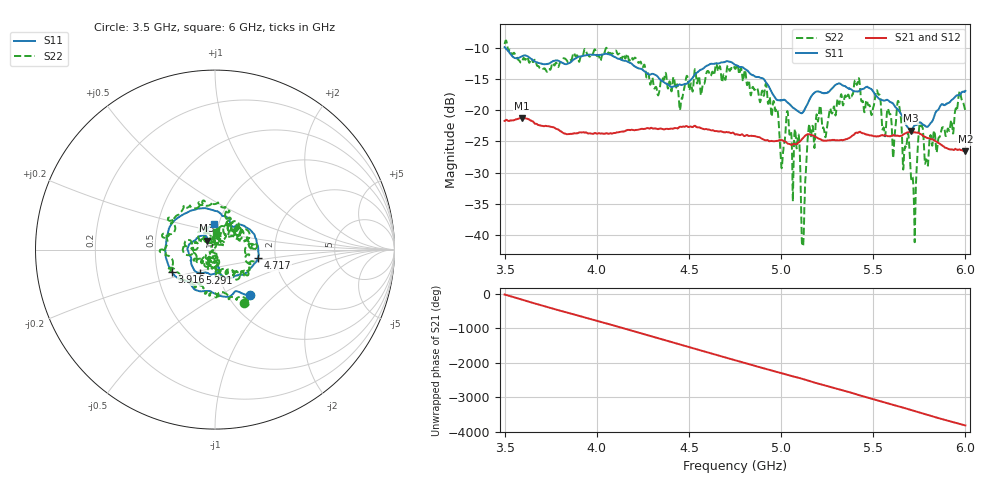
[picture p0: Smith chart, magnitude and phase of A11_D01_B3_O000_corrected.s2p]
! Created with skrf 1.9.0 (http://scikit-rf.org).
# Hz S RI R 50.0
!freq ReS11 ImS11 ReS21 ImS21 ReS12 ImS12 ReS22 ImS22
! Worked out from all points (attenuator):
!   1601 points, 3.5 GHz to 6 GHz, reference 50 ohm
!   highest |S21| = -21.26 dB at 3.592 GHz (marker M1); lowest = -26.6 dB at 6 GHz (marker M2)
!   lowest |S11| = -23.3 dB at 5.703 GHz (marker M3), VSWR 1.15, Z = 45.4 + j4.61 ohm
!   |S11| at or under -10 dB: 3.502 GHz to end of sweep
!   |S22| runs from -41.8 to -8.9 dB; largest |S21 - S12| = 0.0013
!   S11 on the Smith chart (normalised r, x): 3.5 GHz: 1.26, -0.71; 3.916 GHz: 0.60, -0.16; 4.717 GHz: 1.62, -0.16; 5.291 GHz: 0.82, -0.22; 6 GHz: 0.95, +0.28
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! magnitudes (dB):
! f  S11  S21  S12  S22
! 3.5 GHz  -9.9  -21.7  -21.7  -9.4
! 3.592 GHz  -11.4  -21.3  -21.3  -12.4
! 3.916 GHz  -11.4  -23.6  -23.6  -11.2
! 3.917 GHz  -11.4  -23.6  -23.6  -11.1
! 4.334 GHz  -14.8  -23.0  -23.0  -17.6
! 4.717 GHz  -12.3  -23.6  -23.6  -13.5
! 4.75 GHz  -12.7  -23.9  -23.8  -13.4
! 4.969 GHz  -18.1  -25.0  -24.9  -20.2
! 5.005 GHz  -18.4  -24.8  -24.8  -29.0
! 5.086 GHz  -20.1  -25.4  -25.4  -26.0
! 5.119 GHz  -20.3  -24.5  -24.5  -41.8
! 5.145 GHz  -18.9  -23.9  -23.9  -24.2
! 5.167 GHz  -17.7  -24.0  -24.0  -23.0
! 5.291 GHz  -16.1  -24.8  -24.8  -20.1
! 5.412 GHz  -17.0  -23.6  -23.7  -15.9
! 5.584 GHz  -18.5  -24.2  -24.2  -20.2
! 5.639 GHz  -20.1  -24.2  -24.1  -18.9
! 5.703 GHz  -23.3  -23.6  -23.6  -30.0
! 5.722 GHz  -22.5  -23.6  -23.5  -36.1
! 5.758 GHz  -22.0  -23.9  -23.8  -22.5
! 5.789 GHz  -22.7  -24.4  -24.4  -28.0
! 6 GHz  -16.9  -26.6  -26.6  -20.1
